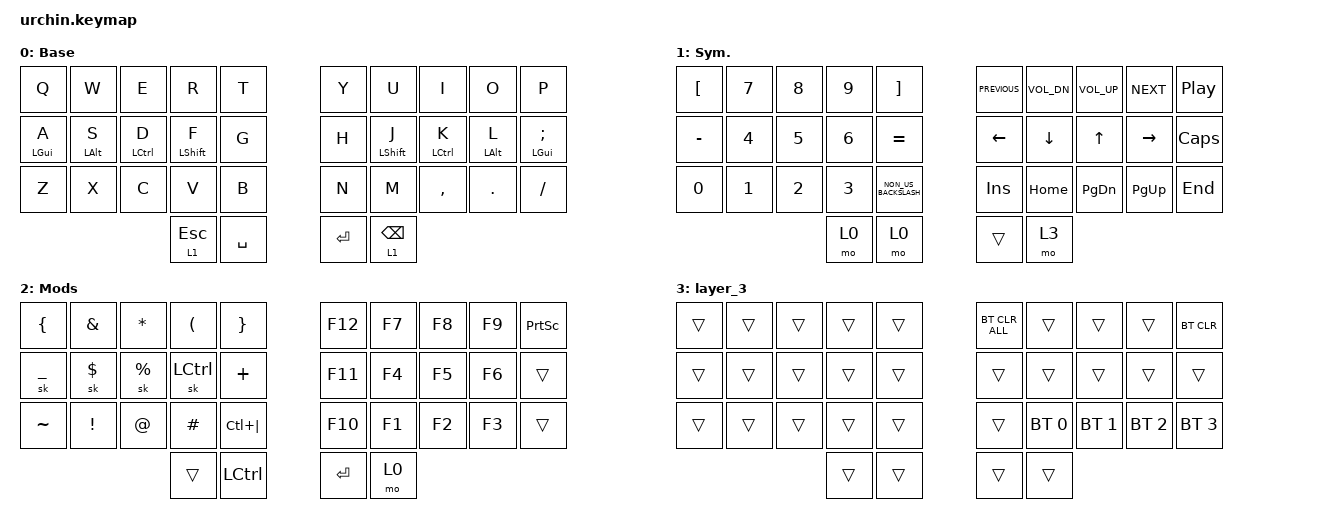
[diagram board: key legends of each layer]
/*
 * Copyright (c) 2020 duckyb
 *
 * SPDX-License-Identifier: MIT
 */

#include <behaviors.dtsi>
#include <dt-bindings/zmk/bt.h>
#include <dt-bindings/zmk/keys.h>
#include "zmk-helpers/key-labels/36.h"                                      // Source key-labels.

#define QUICK_TAP_MS 175

&sk {
  release-after-ms = <900>;
  quick-release;
};

&sl { // Allow sticky mods to chord across sticky layers.
  ignore-modifiers;
};

&lt {
  flavor = "balanced";
  tapping-term-ms = <200>;
  quick-tap-ms = <QUICK_TAP_MS>;
};

#define KEYS_L LT0 LT1 LT2 LT3 LT4 LM0 LM1 LM2 LM3 LM4 LB0 LB1 LB2 LB3 LB4
#define KEYS_R RT0 RT1 RT2 RT3 RT4 RM0 RM1 RM2 RM3 RM4 RB0 RB1 RB2 RB3 RB4
#ifndef LH2
  #define THUMBS LH1 LH0 RH0 RH1         // Thumbs on 34 keys.
#else
  #define THUMBS LH2 LH1 LH0 RH0 RH1 RH2 // Thumbs on 36+ keys.
#endif

#define MAKE_HRM(NAME, HOLD, TAP, TRIGGER_POS)                                 \
  ZMK_HOLD_TAP(NAME, bindings = <HOLD>, <TAP>; flavor = "balanced";            \
               tapping-term-ms = <280>; quick-tap-ms = <QUICK_TAP_MS>;         \
               require-prior-idle-ms = <150>; hold-trigger-on-release;         \
               hold-trigger-key-positions = <TRIGGER_POS>;)

MAKE_HRM(hml, &kp, &kp, KEYS_R THUMBS) // Left-hand HRMs.
MAKE_HRM(hmr, &kp, &kp, KEYS_L THUMBS) // Right-hand HRMs.

// Hack: Make HRM combos tap-only (cf, ZMK issue #544).
#define ZMK_COMBO_8(NAME, TAP, POS, LAYERS, COMBO_MS, IDLE_MS, HOLD, SIDE)     \
  MAKE_HRM(hm_combo_##NAME, &kp, TAP, SIDE THUMBS)                             \
  ZMK_COMBO_6(NAME, &hm_combo_##NAME HOLD 0, POS, LAYERS, COMBO_MS, IDLE_MS)

// Layer definitions

#define BASE 0
#define SYM 1
#define EXT 2
#define FNC 3
#define SYM2 4
#define ACCENT 5
#define SETTINGS 6

// -----------------

&sk {
    // don't release mods on other mods presses

    ignore-modifiers;
};

/ {
    behaviors {
        // Enables holding the first mod-tap key
        // by performing a tap-release-hold sequence.
        // To use it: "&qt KEYCODE1 KEYCODE2"

        qt: quick_tap {
            compatible = "zmk,behavior-hold-tap";
            label = "QUICK_TAP";
            #binding-cells = <2>;
            flavor = "hold-preferred";
            tapping-term-ms = <200>;
            quick-tap-ms = <200>;
            bindings = <&kp>, <&kp>;
        };
    };

    macros {
        // sometimes my device thinks a modifier is being held down
        // pressing all modifiers fixes it.

        unstick: unstick {
            label = "ZM_unstick";
            compatible = "zmk,behavior-macro";
            #binding-cells = <0>;
            bindings = <&kp LSHIFT &kp RSHIFT &kp LCTRL &kp RCTRL &kp LALT &kp RALT &kp LGUI &kp RGUI>;
        };
    };
/ {
    combos {
        compatible = "zmk,combos";

        // both right thumb keys

        combo_accent {
            timeout-ms = <200>;
            key-positions = <32 33>;
            bindings = <&mo 0>;
        };

        // internal-left & external-right thumb keys

        combo_sym2 {
            timeout-ms = <200>;
            key-positions = <31 33>;
            bindings = <&mo 0>;
        };

        // both left thumb keys

        combo_settings {
            timeout-ms = <200>;
            key-positions = <30 31>;
            bindings = <&mo 0>;
        };

        // left index & middle fingers (home-row)
        // hold control & space for Adobe workflow

        combo_ctrl_space {
            timeout-ms = <200>;
            key-positions = <12 13>;
            bindings = <&kp LC(SPACE)>;
            layers = <0>;
        };
    };
  };
/ {
    keymap {
        compatible = "zmk,keymap";

        // Base alpha layer

        default_layer {
            label = "Base";
            bindings = <
  &kp Q           &kp W           &kp E        &kp R             &kp T        &kp Y      &kp U             &kp I        &kp O           &kp P
  &hml LGUI A &hml LALT S  &hml LCTRL D  &hml LSHFT F  &kp G        &kp H      &hml LSHFT J  &hml LCTRL K  &hml LALT L  &hml LGUI SEMICOLON
  &kp Z           &kp X           &kp C        &kp V             &kp B        &kp N      &kp M             &kp COMMA    &kp DOT         &kp SLASH
                                               &lt 1 ESCAPE      &kp SPACE    &kp ENTER  &lt 1 BACKSPACE
            >;
        };

        // Numbers and high frequency symbols

        sym_layer {
            label = "Sym.";
            bindings = <
  &kp LEFT_BRACKET  &kp N7        &kp N8        &kp N9        &kp RIGHT_BRACKET       &kp K_PREVIOUS  &kp C_VOL_DN  &kp C_VOL_UP   &kp K_NEXT  &kp C_PLAY_PAUSE
  &kp MINUS         &kp NUMBER_4  &kp N5        &kp NUMBER_6  &kp EQUAL               &kp LEFT_ARROW  &kp DOWN      &kp UP_ARROW   &kp RIGHT   &kp CAPSLOCK
  &kp N0            &kp NUMBER_1  &kp NUMBER_2  &kp NUMBER_3  &kp NON_US_BACKSLASH    &kp INSERT      &kp HOME      &kp PAGE_DOWN  &kp PG_UP   &kp END
                                                &mo 0         &mo 0                   &trans          &mo 3
            >;
        };

        // Main modifiers and arrow keys

        ext_layer {
            label = "Mods";
            bindings = <
  &kp LEFT_BRACE  &kp AMPERSAND  &kp ASTRK    &kp LEFT_PARENTHESIS  &kp RIGHT_BRACE    &kp F12    &kp F7  &kp F8  &kp F9  &kp PRINTSCREEN
  &sk UNDERSCORE  &sk DOLLAR     &sk PERCENT  &sk LCTRL             &kp PLUS           &kp F11    &kp F4  &kp F5  &kp F6  &trans
  &kp TILDE       &kp EXCL       &kp AT       &kp HASH              &kp LC(PIPE)       &kp F10    &kp F1  &kp F2  &kp F3  &trans
                                              &trans                &kp LCTRL          &kp ENTER  &mo 0
            >;
        };

        // Function keys with modifiers
        // Low frequency symbols.
        // Used to type regional accents.
        // Used to change the keyboard's settings.

        layer_3 {
            bindings = <
  &trans  &trans  &trans  &trans  &trans    &bt BT_CLR_ALL  &trans        &trans        &trans        &bt BT_CLR
  &trans  &trans  &trans  &trans  &trans    &trans          &trans        &trans        &trans        &trans
  &trans  &trans  &trans  &trans  &trans    &trans          &bt BT_SEL 0  &bt BT_SEL 1  &bt BT_SEL 2  &bt BT_SEL 3
                          &trans  &trans    &trans          &trans
            >;
        };
    };
};
